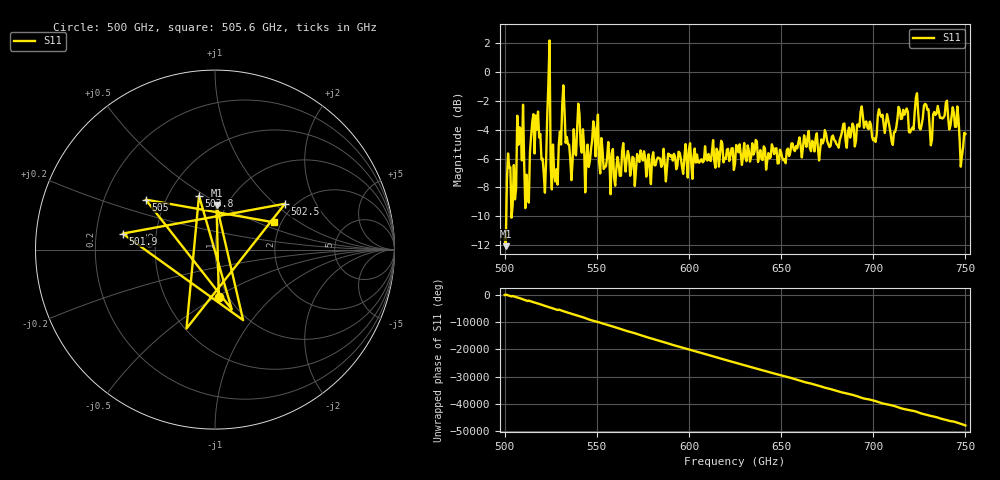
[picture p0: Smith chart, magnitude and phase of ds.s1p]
!Created with skrf (http://scikit-rf.org).
# GHz S RI R 50.0
!freq ReS11 ImS11
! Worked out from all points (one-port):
!   401 points, 500 GHz to 750 GHz, reference 50 ohm
!   lowest |S11| = -12.1 dB at 500.6 GHz (marker M1), VSWR 1.66, Z = 44.9 + j23.8 ohm
!   |S11| at or under -10 dB: start of sweep to 500.9063 GHz; 503.7321 GHz to 503.822 GHz (89.88 MHz wide, 0.0178 % of centre)
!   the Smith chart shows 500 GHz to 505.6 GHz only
!   S11 on the Smith chart (normalised r, x): 500 GHz: 0.91, -0.51; 501.9 GHz: 0.32, +0.08; 502.5 GHz: 1.79, +1.17; 503.8 GHz: 0.71, +0.47; 505 GHz: 0.39, +0.28; 505.6 GHz: 1.83, +0.64
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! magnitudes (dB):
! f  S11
! 500 GHz  -11.5
! 500.6 GHz  -12.1
! 501.9 GHz  -5.6
! 502.5 GHz  -6.6
! 503.8 GHz  -10.1
! 505 GHz  -6.4
! 505.6 GHz  -8.8
! 508.8 GHz  -4.0
! 512.5 GHz  -8.6
! 516.9 GHz  -3.0
! 521.2 GHz  -7.1
! 523.8 GHz  -0.8
! 526.2 GHz  -5.0
! 528.1 GHz  -6.7
! 531.2 GHz  -2.3
! 535.6 GHz  -6.0
! 541.2 GHz  -5.1
! 545 GHz  -5.0
! 549.4 GHz  -5.8
! 552.5 GHz  -4.6
! 562.5 GHz  -7.2
! 593.8 GHz  -6.5
! 625 GHz  -6.4
! 656.2 GHz  -4.9
! 687.5 GHz  -4.5
! 718.8 GHz  -2.7
! 739.4 GHz  -2.1
! 750 GHz  -4.3
